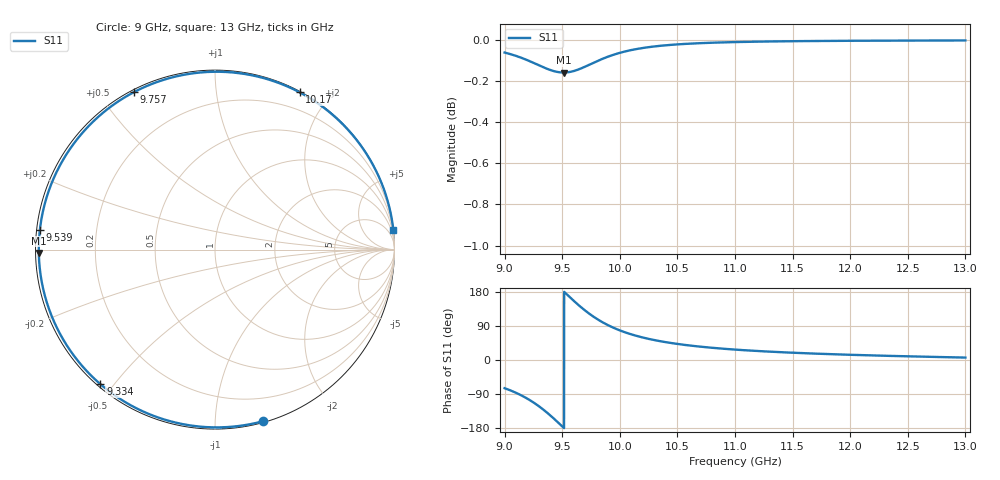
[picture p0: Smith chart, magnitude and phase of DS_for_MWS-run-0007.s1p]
! TOUCHSTONE file generated by CST DESIGN STUDIO
! Date and time: Tue Feb  4 15:55:13 2025
! Project name: C:\Work\MatlabApps\UnitCellOptimizationMatlab\CST\unitcell.cst
! Tree item: Tasks\Sweep1\SPara1\S-Parameters
! Header version: 2024
! Port assignment regex: !\s*Touchstone port\s*([0-9]+)\s*=\s*(CST MWS port|CST DES external port|CST DES block port)\s*(.+)\s* \(\"(.*)\"\)(\s*mode\s*([0-9]+))?.*
! Touchstone port assignment:
! Touchstone port 1 = CST DES external port 1 ("")
# GHz S MA R 50
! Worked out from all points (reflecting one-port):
!   4001 points, 9 GHz to 13 GHz, reference 50 ohm
!   lowest |S11| = -0.2 dB at 9.513 GHz (marker M1), VSWR 109.12, Z = 0.458 - j0.464 ohm
!   phase of S11 starts at -74 deg and turns -279 deg over the sweep
!   S11 on the Smith chart (normalised r, x): 9 GHz: 0.01, -1.32; 9.334 GHz: 0.01, -0.46; 9.539 GHz: 0.01, +0.06; 9.757 GHz: 0.01, +0.61; 10.17 GHz: 0.01, +1.67; 13 GHz: 0, +18
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9  0.9929 -74.4
9.09  0.9912 -85.3
9.194  0.9887 -101.4
9.267  0.9867 -115.4
9.334  0.9848 -130.4
9.379  0.9836 -141.6
9.425  0.9827 -153.9
9.463  0.9821 -164.6
9.5  0.9819 -175.2
9.513  0.9818 -178.9
9.539  0.9819 173.5
9.593  0.9825 158.2
9.654  0.9839 141.7
9.705  0.9853 129.1
9.757  0.9868 117.4
9.808  0.9883 107.1
9.863  0.9897 97.4
10  0.9927 78.2
10.081  0.994 69.5
10.169  0.9951 61.7
10.32  0.9964 51.4
10.5  0.9974 42.4
10.722  0.9982 34.5
11  0.9987 27.5
11.5  0.9992 19.2
12  0.9994 13.7
12.5  0.9996 9.7
13  0.9996 6.4
